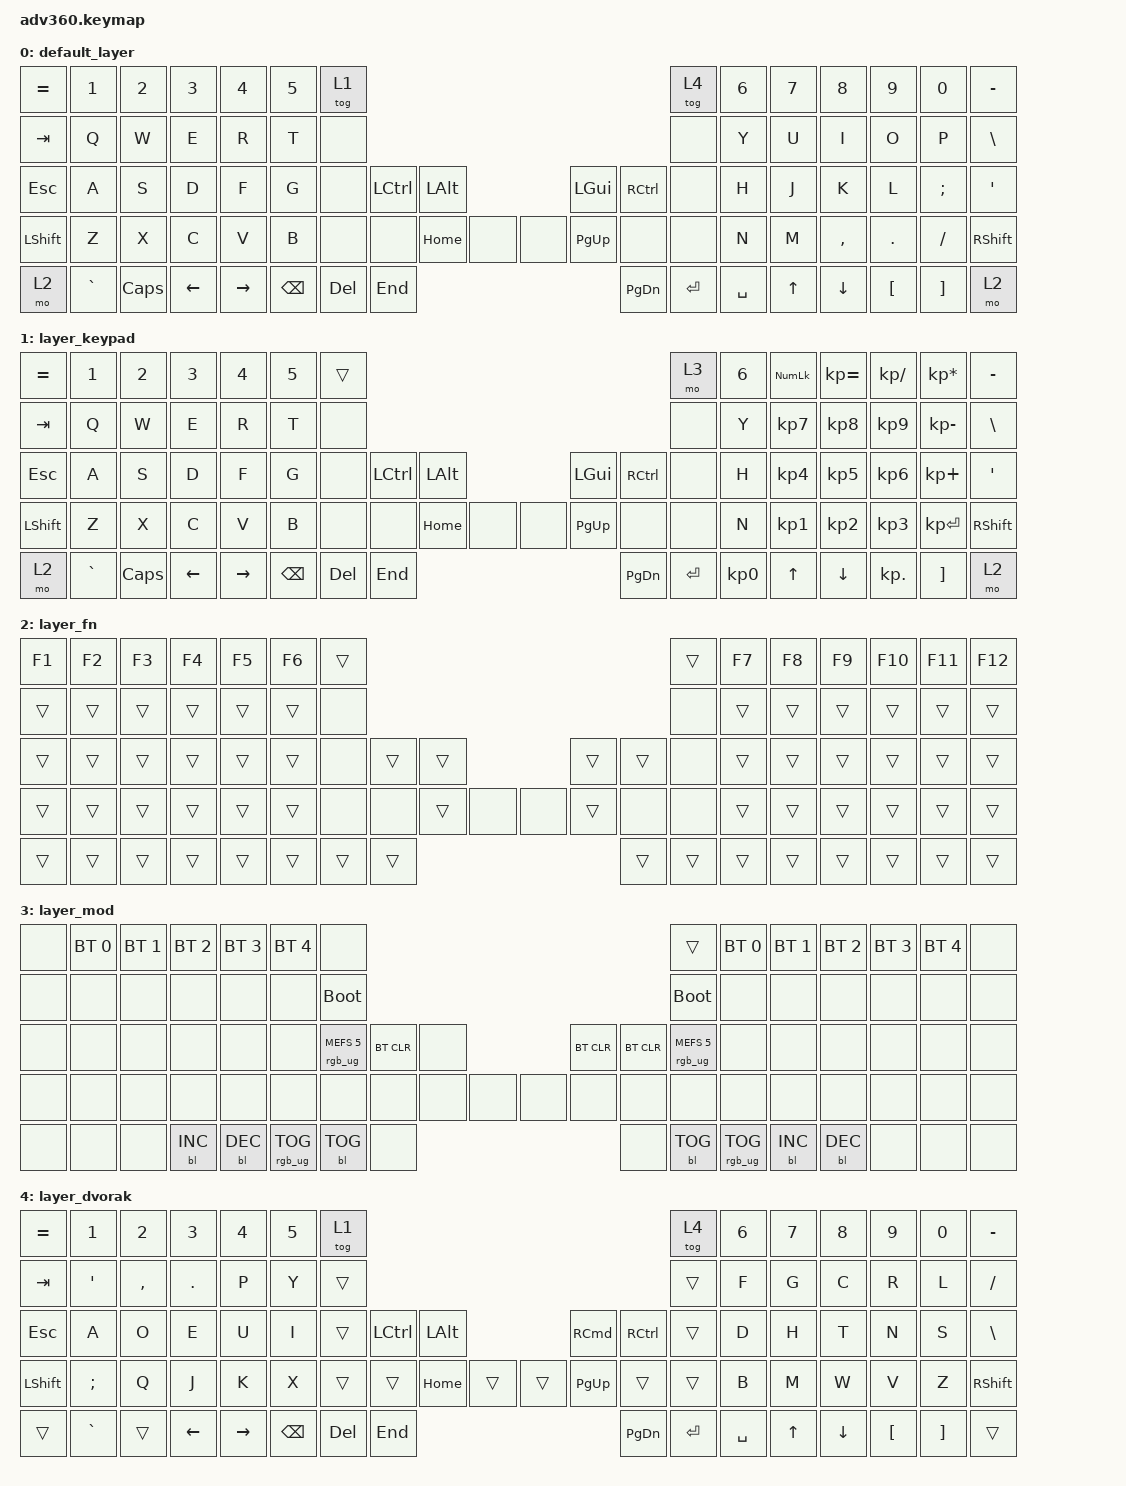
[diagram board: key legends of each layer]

/*
 * Copyright (c) 2020 The ZMK Contributors
 *
 * SPDX-License-Identifier: MIT
 */


/* THIS FILE WAS GENERATED!
 *
 * This file was generated automatically. You may or may not want to
 * edit it directly.
 */

#include <behaviors.dtsi>
#include <dt-bindings/zmk/keys.h>
#include <dt-bindings/zmk/bt.h>
#include <dt-bindings/zmk/rgb.h>
#include <dt-bindings/zmk/backlight.h>

/ {
  behaviors {
    #include "macros.dtsi"

    hm: homerow_mods {
        compatible = "zmk,behavior-hold-tap";
        label = "HOMEROW_MODS";
        #binding-cells = <2>;
        tapping-term-ms = <200>;
        quick_tap_ms = <175>;
        flavor = "tap-preferred";
        bindings = <&kp>, <&kp>;
    };
  };

    keymap {
        compatible = "zmk,keymap";


        default_layer {
            bindings = <
 &kp EQUAL     &kp N1    &kp N2    &kp N3     &kp N4  &kp N5              &tog 1                                                                &tog 4  &kp N6  &kp N7     &kp N8    &kp N9    &kp N0  &kp MINUS
   &kp TAB      &kp Q     &kp W     &kp E      &kp R   &kp T               &none                                                                 &none   &kp Y   &kp U      &kp I     &kp O     &kp P   &kp BSLH
   &kp ESC      &kp A     &kp S     &kp D      &kp F   &kp G               &none  &kp LCTRL  &kp LALT                   &kp LGUI  &kp RCTRL      &none   &kp H   &kp J      &kp K     &kp L  &kp SEMI    &kp SQT
 &kp LSHFT      &kp Z     &kp X     &kp C      &kp V   &kp B               &none      &none  &kp HOME   &none   &none  &kp PG_UP      &none      &none   &kp N   &kp M  &kp COMMA   &kp DOT  &kp FSLH  &kp RSHFT
     &mo 2  &kp GRAVE  &kp CAPS  &kp LEFT  &kp RIGHT                    &kp BSPC    &kp DEL   &kp END                  &kp PG_DN  &kp ENTER  &kp SPACE          &kp UP   &kp DOWN  &kp LBKT  &kp RBKT      &mo 2
            >;
        };

        layer_keypad {
            bindings = <
 &kp EQUAL     &kp N1    &kp N2    &kp N3     &kp N4  &kp N5              &trans                                                                 &mo 3  &kp N6  &kp KP_NUM  &kp KP_EQUAL  &kp KP_DIVIDE  &kp KP_MULTIPLY  &kp MINUS
   &kp TAB      &kp Q     &kp W     &kp E      &kp R   &kp T               &none                                                                 &none   &kp Y   &kp KP_N7     &kp KP_N8      &kp KP_N9     &kp KP_MINUS   &kp BSLH
   &kp ESC      &kp A     &kp S     &kp D      &kp F   &kp G               &none  &kp LCTRL  &kp LALT                   &kp LGUI  &kp RCTRL      &none   &kp H   &kp KP_N4     &kp KP_N5      &kp KP_N6      &kp KP_PLUS    &kp SQT
 &kp LSHFT      &kp Z     &kp X     &kp C      &kp V   &kp B               &none      &none  &kp HOME   &none   &none  &kp PG_UP      &none      &none   &kp N   &kp KP_N1     &kp KP_N2      &kp KP_N3     &kp KP_ENTER  &kp RSHFT
     &mo 2  &kp GRAVE  &kp CAPS  &kp LEFT  &kp RIGHT                    &kp BSPC    &kp DEL   &kp END                  &kp PG_DN  &kp ENTER  &kp KP_N0              &kp UP      &kp DOWN     &kp KP_DOT         &kp RBKT      &mo 2
            >;
        };

        layer_fn {
            bindings = <
 &kp F1  &kp F2  &kp F3  &kp F4  &kp F5  &kp F6            &trans                                                  &trans  &kp F7  &kp F8  &kp F9  &kp F10  &kp F11  &kp F12
 &trans  &trans  &trans  &trans  &trans  &trans             &none                                                   &none  &trans  &trans  &trans   &trans   &trans   &trans
 &trans  &trans  &trans  &trans  &trans  &trans             &none  &trans  &trans                  &trans  &trans   &none  &trans  &trans  &trans   &trans   &trans   &trans
 &trans  &trans  &trans  &trans  &trans  &trans             &none   &none  &trans   &none   &none  &trans   &none   &none  &trans  &trans  &trans   &trans   &trans   &trans
 &trans  &trans  &trans  &trans  &trans                    &trans  &trans  &trans                  &trans  &trans  &trans          &trans  &trans   &trans   &trans   &trans
            >;
        };

        layer_mod {
            bindings = <
  &none  &bt BT_SEL 0  &bt BT_SEL 1  &bt BT_SEL 2  &bt BT_SEL 3  &bt BT_SEL 4                             &none                                                                              &trans  &bt BT_SEL 0  &bt BT_SEL 1  &bt BT_SEL 2  &bt BT_SEL 3  &bt BT_SEL 4   &none
  &none         &none         &none         &none         &none         &none                       &bootloader                                                                         &bootloader         &none         &none         &none         &none         &none   &none
  &none         &none         &none         &none         &none         &none            &rgb_ug RGB_MEFS_CMD 5  &bt BT_CLR   &none                  &bt BT_CLR  &bt BT_CLR  &rgb_ug RGB_MEFS_CMD 5         &none         &none         &none         &none         &none   &none
  &none         &none         &none         &none         &none         &none                             &none       &none   &none   &none   &none       &none       &none                   &none         &none         &none         &none         &none         &none   &none
  &none         &none         &none    &bl BL_INC    &bl BL_DEC                                 &rgb_ug RGB_TOG  &bl BL_TOG   &none                       &none  &bl BL_TOG         &rgb_ug RGB_TOG                  &bl BL_INC    &bl BL_DEC         &none         &none   &none
            >;
        };

        layer_dvorak {
            bindings = <
 &kp EQUAL  &kp NUMBER_1  &kp NUMBER_2  &kp NUMBER_3  &kp NUMBER_4  &kp NUMBER_5                   &tog 1                                                                                           &tog 4  &kp NUMBER_6  &kp NUMBER_7  &kp NUMBER_8  &kp NUMBER_9  &kp NUMBER_0        &kp MINUS
   &kp TAB       &kp SQT     &kp COMMA    &kp PERIOD         &kp P         &kp Y                   &trans                                                                                           &trans         &kp F         &kp G         &kp C         &kp R         &kp L        &kp SLASH
   &kp ESC         &kp A         &kp O         &kp E         &kp U         &kp I                   &trans  &kp LEFT_CONTROL  &kp LEFT_ALT                  &kp RIGHT_COMMAND  &kp RIGHT_CONTROL     &trans         &kp D         &kp H         &kp T         &kp N         &kp S    &kp BACKSLASH
 &kp LSHFT      &kp SEMI         &kp Q         &kp J         &kp K         &kp X                   &trans            &trans      &kp HOME  &trans  &trans        &kp PAGE_UP             &trans     &trans         &kp B         &kp M         &kp W         &kp V         &kp Z  &kp RIGHT_SHIFT
    &trans     &kp GRAVE        &trans      &kp LEFT     &kp RIGHT                          &kp BACKSPACE        &kp DELETE       &kp END                      &kp PAGE_DOWN          &kp ENTER  &kp SPACE                      &kp UP      &kp DOWN      &kp LBKT      &kp RBKT           &trans
            >;
        };

    };
};
